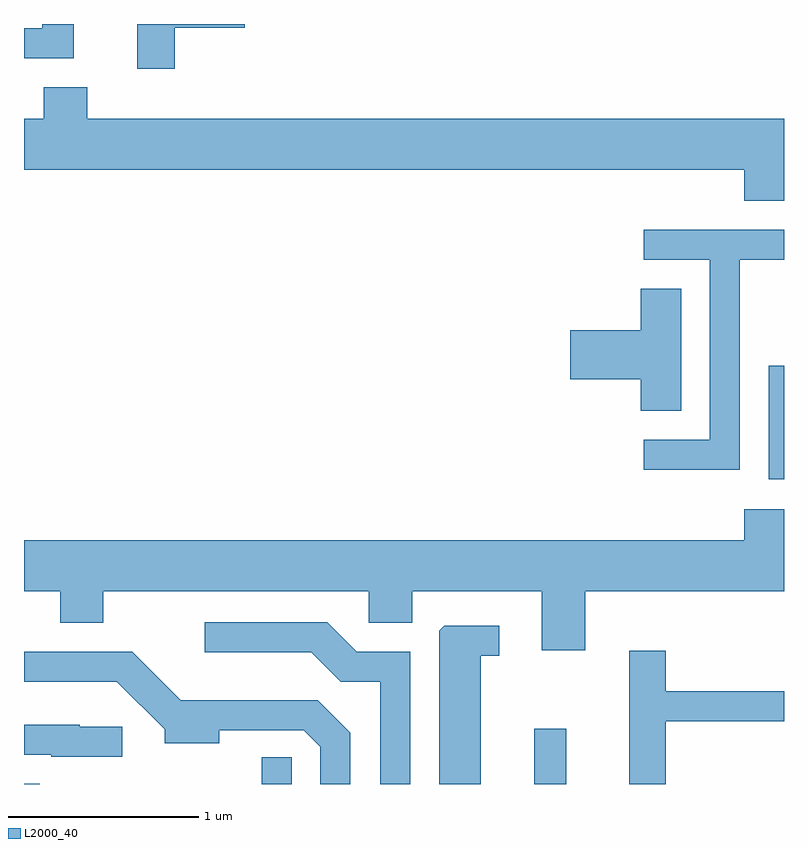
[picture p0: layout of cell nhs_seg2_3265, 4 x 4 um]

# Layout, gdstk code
import gdstk
lib = gdstk.Library(unit=1e-6, precision=1e-09)
def R(c, l, rs):  # rectangles x0, y0, x1, y1
    for r in rs: c.add(gdstk.rectangle(r[:2], r[2:], *l))
def P(c, l, *ps):  # polygons
    for p in ps: c.add(gdstk.Polygon(p, *l))
L2000_40 = (2000, 40)

nhs_seg2_3265 = lib.new_cell('nhs_seg2_3265')
R(nhs_seg2_3265, L2000_40, [(281.611,991.802,281.695,991.804), (282.861,991.802,283.019,991.943), (284.296,991.802,284.464,992.093), (285.531,993.406,285.611,994.004)])
P(nhs_seg2_3265, L2000_40, [(282.404,995.781),(282.774,995.781),(282.774,995.802),(282.206,995.802),(282.206,995.566),(282.404,995.566)],
  [(281.874,995.802),(281.706,995.802),(281.706,995.779),(281.611,995.779),(281.611,995.621),(281.874,995.621)],
  [(285.611,995.304),(281.944,995.304),(281.944,995.469),(281.716,995.469),(281.716,995.304),(281.611,995.304),(281.611,995.036),(285.401,995.036),(285.401,994.871),(285.611,994.871)],
  [(285.379,994.561),(285.611,994.561),(285.611,994.719),(284.873,994.719),(284.873,994.561),(285.221,994.561),(285.221,993.614),(284.873,993.614),(284.873,993.456),(285.379,993.456)],
  [(285.069,994.409),(284.856,994.409),(284.856,994.189),(284.486,994.189),(284.486,993.931),(284.856,993.931),(284.856,993.766),(285.069,993.766)],
  [(281.611,992.816),(281.801,992.816),(281.801,992.651),(282.029,992.651),(282.029,992.816),(283.426,992.816),(283.426,992.651),(283.654,992.651),(283.654,992.816),(284.336,992.816),(284.336,992.506),(284.564,992.506),(284.564,992.816),(285.611,992.816),(285.611,993.249),(285.401,993.249),(285.401,993.084),(281.611,993.084)],
  [(283.644,992.499),(283.362,992.499),(283.207,992.654),(282.563,992.654),(282.563,992.496),(283.124,992.496),(283.279,992.341),(283.486,992.341),(283.486,991.802),(283.644,991.802)],
  [(284.014,992.476),(284.113,992.476),(284.113,992.634),(283.822,992.634),(283.796,992.609),(283.796,991.802),(284.014,991.802)],
  [(284.989,992.131),(285.611,992.131),(285.611,992.289),(284.989,992.289),(284.989,992.504),(284.796,992.504),(284.796,991.802),(284.989,991.802)],
  [(283.329,992.072),(283.157,992.244),(282.437,992.244),(282.182,992.499),(281.611,992.499),(281.611,992.341),(282.099,992.341),(282.351,992.089),(282.351,992.016),(282.639,992.016),(282.639,992.086),(283.084,992.086),(283.171,991.999),(283.171,991.802),(283.329,991.802)],
  [(282.128,992.104),(281.905,992.104),(281.905,992.114),(281.611,992.114),(281.611,991.956),(281.755,991.956),(281.755,991.946),(282.128,991.946)])

lib.write_gds('nhs_seg2_3265.gds')
